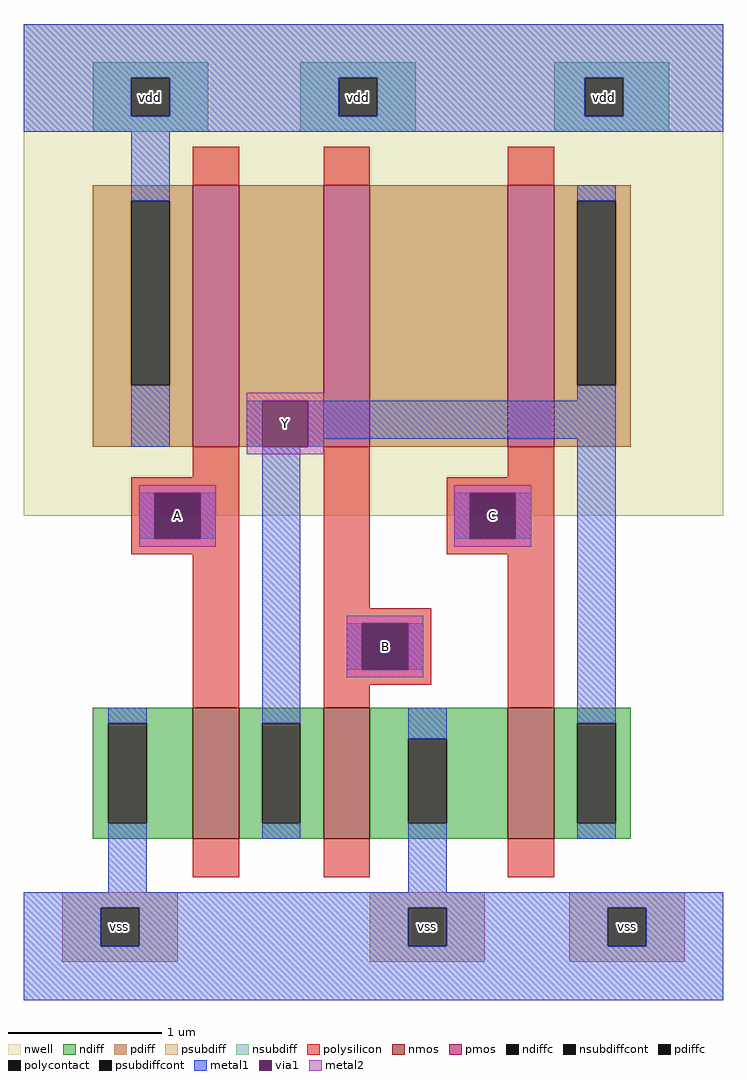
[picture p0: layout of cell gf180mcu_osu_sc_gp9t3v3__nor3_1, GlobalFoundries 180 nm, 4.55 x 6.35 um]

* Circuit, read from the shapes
.subckt gf180mcu_osu_sc_gp9t3v3__nor3_1 A B C Y vdd vss
XM1 Y A vss vss nfet_03v3 w=0.85u l=0.3u
XM2 vss B Y vss nfet_03v3 w=0.85u l=0.3u
XM3 Y C vss vss nfet_03v3 w=0.85u l=0.3u
XM4 n1 A vdd vdd pfet_03v3 w=1.7u l=0.3u
XM5 n2 B n1 vdd pfet_03v3 w=1.7u l=0.3u
XM6 Y C n2 vdd pfet_03v3 w=1.7u l=0.3u
.ends

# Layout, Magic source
magic
tech gf180mcuD
<< nwell >>
rect -10 63 81 127
<< nmos >>
rect 12 21 18 38
rect 29 21 35 38
rect 53 21 59 38
<< pmos >>
rect 12 72 18 106
rect 29 72 35 106
rect 53 72 59 106
<< ndiff >>
rect -1 36 12 38
rect -1 23 1 36
rect 6 23 12 36
rect -1 21 12 23
rect 18 36 29 38
rect 18 23 21 36
rect 26 23 29 36
rect 18 21 29 23
rect 35 34 53 38
rect 35 23 40 34
rect 45 23 53 34
rect 35 21 53 23
rect 59 36 69 38
rect 59 23 62 36
rect 67 23 69 36
rect 59 21 69 23
<< pdiff >>
rect -1 104 12 106
rect -1 80 4 104
rect 9 80 12 104
rect -1 72 12 80
rect 18 72 29 106
rect 35 72 53 106
rect 59 104 69 106
rect 59 80 62 104
rect 67 80 69 104
rect 59 72 69 80
<< ndiffc >>
rect 1 23 6 36
rect 21 23 26 36
rect 40 23 45 34
rect 62 23 67 36
<< pdiffc >>
rect 4 80 9 104
rect 62 80 67 104
<< psubdiff >>
rect -5 12 10 14
rect -5 7 0 12
rect 5 7 10 12
rect -5 5 10 7
rect 35 12 50 14
rect 35 7 40 12
rect 45 7 50 12
rect 35 5 50 7
rect 61 12 76 14
rect 61 7 66 12
rect 71 7 76 12
rect 61 5 76 7
<< nsubdiff >>
rect -1 120 14 122
rect -1 115 4 120
rect 9 115 14 120
rect -1 113 14 115
rect 26 120 41 122
rect 26 115 31 120
rect 36 115 41 120
rect 26 113 41 115
rect 59 120 74 122
rect 59 115 63 120
rect 68 115 74 120
rect 59 113 74 115
<< psubdiffcont >>
rect 0 7 5 12
rect 40 7 45 12
rect 66 7 71 12
<< nsubdiffcont >>
rect 4 115 9 120
rect 31 115 36 120
rect 63 115 68 120
<< polysilicon >>
rect 12 106 18 111
rect 29 106 35 111
rect 53 106 59 111
rect 12 68 18 72
rect 4 66 18 68
rect 4 60 7 66
rect 13 60 18 66
rect 4 58 18 60
rect 12 38 18 58
rect 29 51 35 72
rect 53 68 59 72
rect 45 66 59 68
rect 45 60 48 66
rect 54 60 59 66
rect 45 58 59 60
rect 29 49 43 51
rect 29 43 34 49
rect 40 43 43 49
rect 29 41 43 43
rect 29 38 35 41
rect 53 38 59 58
rect 12 16 18 21
rect 29 16 35 21
rect 53 16 59 21
<< polycontact >>
rect 7 60 13 66
rect 48 60 54 66
rect 34 43 40 49
<< metal1 >>
rect -10 120 81 127
rect -10 115 4 120
rect 9 115 31 120
rect 36 115 63 120
rect 68 115 81 120
rect -10 113 81 115
rect 4 104 9 113
rect 4 72 9 80
rect 62 104 67 106
rect 62 78 67 80
rect 19 72 21 78
rect 27 73 67 78
rect 27 72 29 73
rect 5 60 7 66
rect 13 60 15 66
rect 1 36 6 38
rect 1 14 6 23
rect 21 36 26 72
rect 46 60 48 66
rect 54 60 56 66
rect 32 43 34 49
rect 40 43 42 49
rect 21 21 26 23
rect 40 34 45 38
rect 40 14 45 23
rect 62 36 67 73
rect 62 21 67 23
rect -10 12 81 14
rect -10 7 0 12
rect 5 7 40 12
rect 45 7 66 12
rect 71 7 81 12
rect -10 0 81 7
<< via1 >>
rect 21 72 27 78
rect 7 60 13 66
rect 48 60 54 66
rect 34 43 40 49
<< metal2 >>
rect 19 78 29 79
rect 19 72 21 78
rect 27 72 29 78
rect 19 71 29 72
rect 5 66 15 67
rect 5 60 7 66
rect 13 60 15 66
rect 5 59 15 60
rect 46 66 56 67
rect 46 60 48 66
rect 54 60 56 66
rect 46 59 56 60
rect 32 49 42 50
rect 32 43 34 49
rect 40 43 42 49
rect 32 42 42 43
<< labels >>
rlabel metal2 7 60 13 66 1 A
rlabel psubdiffcont 66 7 71 12 1 vss
rlabel psubdiffcont 0 7 5 12 1 vss
rlabel nsubdiffcont 4 115 9 120 1 vdd
rlabel nsubdiffcont 31 115 36 120 1 vdd
rlabel nsubdiffcont 63 115 68 120 1 vdd
rlabel metal2 48 60 54 66 1 C
rlabel psubdiffcont 40 7 45 12 1 vss
rlabel metal2 34 43 40 49 1 B
rlabel via1 21 72 27 78 1 Y
<< end >>
